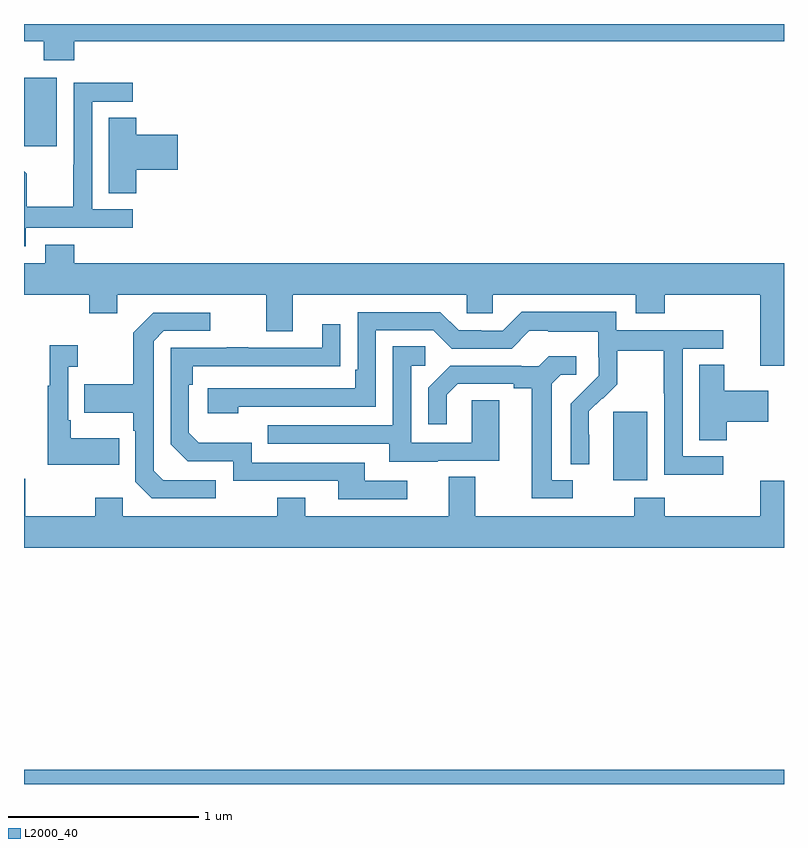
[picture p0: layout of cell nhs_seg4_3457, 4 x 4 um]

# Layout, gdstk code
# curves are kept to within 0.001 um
import gdstk
lib = gdstk.Library(unit=1e-6, precision=1e-09)
def R(c, l, rs):  # rectangles x0, y0, x1, y1
    for r in rs: c.add(gdstk.rectangle(r[:2], r[2:], *l))
def P(c, l, *ps):  # polygons
    for p in ps: c.add(gdstk.Polygon(p, *l))
L2000_40 = (2000, 40)

nhs_seg4_3457 = lib.new_cell('nhs_seg4_3457')
R(nhs_seg4_3457, L2000_40, [(293,804.9,297,804.976), (296.102,806.498,296.281,806.859), (293,808.257,293.173,808.618)])
P(nhs_seg4_3457, L2000_40, [(293.264,808.808),(297,808.808),(297,808.9),(293,808.9),(293,808.808),(293.104,808.808),(293.104,808.709),(293.264,808.709)],
  [(293.01,807.828),(293.572,807.828),(293.572,807.924),(293.358,807.924),(293.358,808.491),(293.572,808.491),(293.572,808.59),(293.262,808.59),(293.262,808.16),(293.26,808.16),(293.26,807.937),(293.015,807.937),(293.015,808.111),(293,808.126),(293,807.731),(293.01,807.731)],
  [(293.591,808.133),(293.809,808.133),(293.809,808.316),(293.591,808.316),(293.591,808.406),(293.447,808.406),(293.447,808.009),(293.591,808.009)],
  [(297,807.64),(293.264,807.64),(293.264,807.739),(293.111,807.739),(293.111,807.64),(293,807.64),(293,807.476),(293.344,807.476),(293.344,807.377),(293.491,807.377),(293.491,807.476),(294.275,807.476),(294.275,807.282),(294.415,807.282),(294.415,807.476),(295.329,807.476),(295.329,807.378),(295.467,807.378),(295.467,807.476),(296.219,807.476),(296.219,807.377),(296.372,807.377),(296.372,807.476),(296.876,807.476),(296.876,807.102),(297,807.102)],
  [(296.68,806.625),(296.466,806.625),(296.466,807.192),(296.68,807.192),(296.68,807.288),(296.118,807.288),(296.118,807.385),(295.621,807.385),(295.521,807.285),(295.406,807.285),(295.406,807.288),(295.287,807.288),(295.191,807.384),(294.756,807.384),(294.756,807.079),(294.743,807.079),(294.743,806.982),(293.967,806.982),(293.967,806.852),(294.128,806.852),(294.128,806.886),(294.852,806.886),(294.852,807.288),(295.155,807.288),(295.251,807.192),(295.566,807.192),(295.659,807.285),(295.759,807.285),(295.759,807.281),(296.022,807.281),(296.022,807.147),(296.024,807.147),(296.024,807.05),(295.878,806.902),(295.878,806.584),(295.974,806.584),(295.973,806.861),(296.043,806.931),(296.046,806.928),(296.123,807.005),(296.123,807.18),(296.368,807.18),(296.368,806.956),(296.37,806.956),(296.37,806.527),(296.68,806.527)],
  [(294.01,806.499),(293.733,806.499),(293.682,806.55),(293.682,807.231),(293.736,807.285),(293.98,807.285),(293.98,807.381),(293.679,807.381),(293.574,807.275),(293.574,807.003),(293.317,807.003),(293.317,806.855),(293.574,806.855),(293.574,806.759),(293.586,806.759),(293.586,806.49),(293.673,806.403),(294.01,806.403)],
  [(295.018,806.496),(294.793,806.496),(294.793,806.592),(294.198,806.592),(294.198,806.695),(293.921,806.695),(293.868,806.748),(293.868,807.002),(293.888,807.002),(293.888,807.099),(294.665,807.1),(294.665,807.319),(294.569,807.319),(294.569,807.195),(294.179,807.195),(294.179,807.2),(294.067,807.2),(294.067,807.195),(293.772,807.195),(293.772,806.688),(293.862,806.598),(294.102,806.598),(294.102,806.496),(294.653,806.496),(294.653,806.4),(295.018,806.4)],
  [(293.501,806.719),(293.245,806.719),(293.245,806.815),(293.232,806.815),(293.232,807.095),(293.284,807.095),(293.284,807.208),(293.135,807.208),(293.135,806.995),(293.124,806.995),(293.124,806.579),(293.501,806.579)],
  [(295.177,806.601),(295.501,806.601),(295.501,806.921),(295.356,806.921),(295.356,806.697),(295.038,806.697),(295.038,807.102),(295.111,807.102),(295.111,807.203),(294.942,807.203),(294.942,806.787),(294.283,806.787),(294.283,806.691),(294.923,806.691),(294.923,806.597),(295.177,806.597)],
  [(295.888,806.499),(295.777,806.499),(295.777,807.007),(295.824,807.054),(295.906,807.054),(295.906,807.151),(295.762,807.151),(295.71,807.099),(295.616,807.099),(295.616,807.102),(295.244,807.102),(295.128,806.986),(295.128,806.793),(295.225,806.793),(295.225,806.949),(295.282,807.006),(295.577,807.006),(295.577,806.984),(295.673,806.984),(295.673,806.403),(295.888,806.403)],
  [(296.699,806.806),(296.917,806.806),(296.917,806.971),(296.686,806.971),(296.686,807.107),(296.555,807.107),(296.555,806.71),(296.699,806.71)],
  [(297,806.497),(296.876,806.497),(296.876,806.308),(296.372,806.308),(296.372,806.407),(296.212,806.407),(296.212,806.308),(295.375,806.308),(295.375,806.516),(295.235,806.516),(295.235,806.308),(294.481,806.308),(294.481,806.407),(294.334,806.407),(294.334,806.308),(293.52,806.308),(293.52,806.407),(293.374,806.407),(293.374,806.308),(293.007,806.308),(293.007,806.507),(293,806.507),(293,806.144),(297,806.144)])

lib.write_gds('nhs_seg4_3457.gds')
